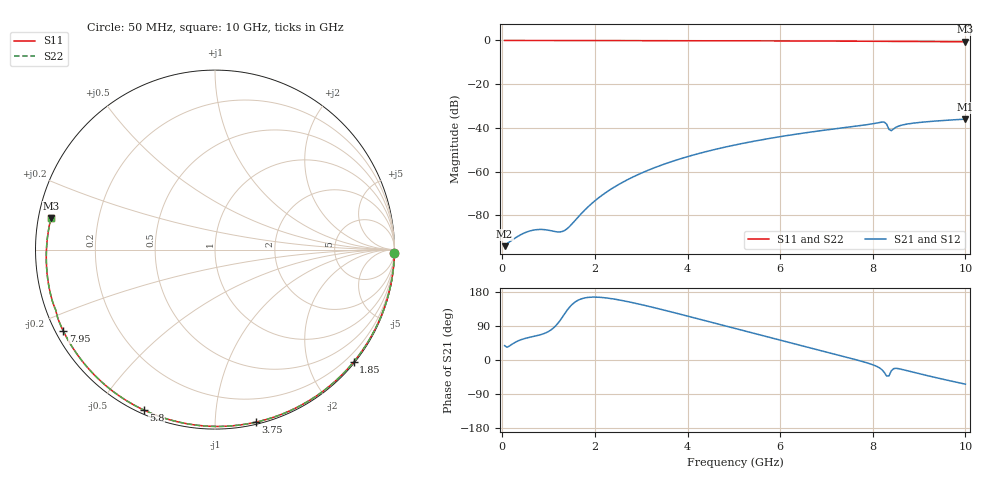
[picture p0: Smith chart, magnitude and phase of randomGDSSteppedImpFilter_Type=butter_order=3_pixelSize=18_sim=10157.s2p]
! freq	dB(S11)	phase(S11)	dB(S12)	phase(S12)
!  dB(S21)	phase(S21)	dB(S22)	phase(S22)
!S-par simulation data
#  GHz  S  DB  R 50
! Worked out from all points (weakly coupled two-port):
!   200 points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, 50 MHz to 10 GHz, reference 50 ohm
!   highest |S21| = -36.02 dB at 10 GHz (marker M1); lowest = -94.2 dB at 50 MHz (marker M2)
!   lowest |S11| = -0.6 dB at 10 GHz (marker M3), VSWR 27.86, Z = 1.81 + j4.75 ohm
!   |S11| at or under -10 dB: nowhere
!   |S22| runs from -0.6 to 0.0 dB; largest |S21 - S12| = 0
!   S11 on the Smith chart (normalised r, x): 50 MHz: open; 1.85 GHz: 0.03, -2.82; 3.75 GHz: 0.02, -1.27; 5.8 GHz: 0.02, -0.65; 7.95 GHz: 0.02, -0.25; 10 GHz: 0.04, +0.10
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0.05  -0.00 -1.1  -94.17 37.9  -94.17 37.9  -0.00 -1.1
0.8  -0.02 -17.1  -86.53 65.9  -86.53 65.9  -0.02 -17.1
1.65  -0.04 -34.9  -80.56 158.5  -80.56 158.5  -0.04 -34.9
1.75  -0.05 -37.0  -78.30 162.9  -78.30 162.9  -0.05 -37.0
1.85  -0.05 -39.0  -76.21 165.1  -76.21 165.1  -0.05 -39.0
2.15  -0.06 -45.2  -70.92 165.0  -70.92 165.0  -0.06 -45.1
2.5  -0.07 -52.2  -66.10 159.0  -66.10 159.0  -0.07 -52.2
2.9  -0.08 -60.2  -61.71 149.0  -61.71 149.0  -0.08 -60.1
3.4  -0.09 -69.9  -57.34 134.5  -57.34 134.5  -0.09 -69.9
3.75  -0.10 -76.6  -54.81 123.7  -54.81 123.7  -0.10 -76.6
4.4  -0.13 -88.8  -50.89 103.2  -50.89 103.2  -0.13 -88.7
5.05  -0.16 -100.6  -47.73 82.5  -47.73 82.5  -0.16 -100.6
5.8  -0.19 -114.0  -44.74 58.7  -44.74 58.7  -0.19 -114.0
6.7  -0.25 -129.8  -41.81 30.4  -41.81 30.4  -0.25 -129.8
7.95  -0.36 -151.9  -38.31 -10.5  -38.31 -10.5  -0.36 -151.8
8.25  -0.41 -157.5  -37.39 -33.0  -37.39 -33.0  -0.41 -157.4
8.3  -0.44 -158.4  -38.35 -42.3  -38.35 -42.3  -0.44 -158.3
8.35  -0.46 -159.1  -40.72 -41.9  -40.72 -41.9  -0.46 -159.0
8.4  -0.45 -159.9  -41.31 -28.7  -41.31 -28.7  -0.45 -159.8
8.55  -0.44 -162.6  -39.27 -22.7  -39.27 -22.7  -0.44 -162.6
8.85  -0.47 -168.3  -37.92 -31.5  -37.92 -31.5  -0.47 -168.2
10  -0.62 169.1  -36.02 -63.8  -36.02 -63.8  -0.62 169.2
